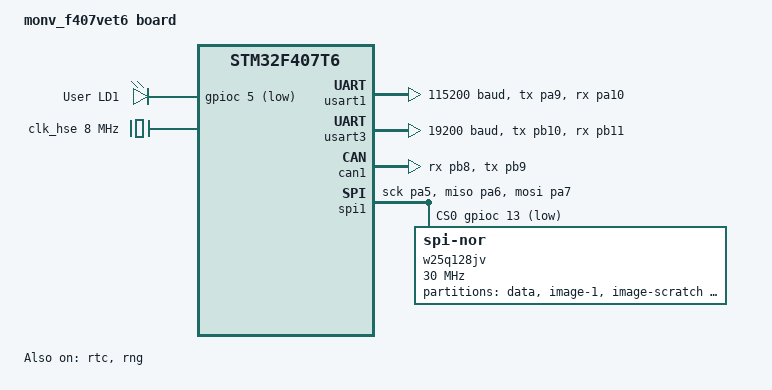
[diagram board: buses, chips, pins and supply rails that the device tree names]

/dts-v1/;
#include <st/f4/stm32f407Xe.dtsi>
#include <st/f4/stm32f407v(e-g)tx-pinctrl.dtsi>
#include <zephyr/dt-bindings/input/input-event-codes.h>

/ {
	model = "monv_f407vet6 board";
	compatible = "monv-stm32f407t6";

	chosen {
		zephyr,console = &usart1;
		zephyr,shell-uart = &usart1;
		zephyr,sram = &sram0;
		zephyr,flash = &flash0;
		zephyr,ccm = &ccm0;
		zephyr,canbus = &can1;
		zephyr,settings-partition = &cfg_partition;
		zephyr,code-partition = &slot0_partition;
		zephyr,rtc = &rtc;
	};
	leds {
		compatible = "gpio-leds";
		heart_status: led_1 {
			gpios = <&gpioc 5 GPIO_ACTIVE_LOW>;
			label = "User LD1";
		};
	};

	aliases {
		led0 = &heart_status;
		rtc = &rtc;
		mcuboot-led0 = &heart_status;
	};
};

&clk_lsi {
	status = "okay";
};

&clk_hse {
	clock-frequency = <DT_FREQ_M(8)>;
	status = "okay";
};

&pll {
	div-m = <8>;
	mul-n = <336>;
	div-p = <2>;
	div-q = <7>;
	clocks = <&clk_hse>;
	status = "okay";
};

&rcc {
	clocks = <&pll>;
	clock-frequency = <DT_FREQ_M(168)>;
	ahb-prescaler = <1>;
	apb1-prescaler = <4>;
	apb2-prescaler = <2>;
};

&usart1 {
	pinctrl-0 = <&usart1_tx_pa9 &usart1_rx_pa10>;
	pinctrl-names = "default";
	current-speed = <115200>;
	status = "okay";
};

&usart3 {
	pinctrl-0 = <&usart3_tx_pb10 &usart3_rx_pb11>;
	pinctrl-names = "default";
	current-speed = <19200>;
	status = "okay";
};

&rtc {
	clocks = <&rcc STM32_CLOCK_BUS_APB1 0x10000000>,
		 <&rcc STM32_SRC_LSI RTC_SEL(2)>;
	status = "okay";
};

&can1 {
	pinctrl-0 = <&can1_rx_pb8 &can1_tx_pb9>;
	pinctrl-names = "default";
	status = "okay";
};

&flash0 {
	partitions {
		compatible = "fixed-partitions";
		#address-cells = <1>;
		#size-cells = <1>;

		boot_partition: partition@0 {
			label = "mcuboot";
			reg = <0x00000000 DT_SIZE_K(64)>;
			read-only;
		};

		slot0_partition: partition@10000 {
			label = "image-0";
			reg = <0x00010000 DT_SIZE_K(448)>;
		};
	};
};

&spi1 {
	pinctrl-0 = <&spi1_sck_pa5 &spi1_miso_pa6 &spi1_mosi_pa7>;
	pinctrl-names = "default";
	status = "okay";
	cs-gpios = <&gpioc 13 GPIO_ACTIVE_LOW>;
	w25q128jv: w25q128jv@0 {
		compatible = "jedec,spi-nor";
		reg = <0x0000000 DT_SIZE_M(16)>;
		spi-max-frequency = <30000000>;
		size = <0x8000000>;
		jedec-id = [ef 40 18];
		partitions {
			compatible = "fixed-partitions";
			#address-cells = <1>;
			#size-cells = <1>;

			storage_partition: partition@0 {
				label = "data";
				reg = <0x00000000 DT_SIZE_M(13)>;
			};
			slot1_partition: partition@D00000 {
				label = "image-1";
				reg = <0x00D00000 DT_SIZE_K(448)>;
			};
			scratch_partition: partition@D70000 {
				label = "image-scratch";
				reg = <0x00D70000 DT_SIZE_K(256)>;
			};
			cfg_partition: partition@E00000 {
				label = "cfg";
				reg = <0x00E00000 DT_SIZE_M(2)>;
			};
		};
	};
};

&can1 {
	pinctrl-0 = <&can1_rx_pb8 &can1_tx_pb9>;
	pinctrl-names = "default";
	status = "okay";
};

&rng {
	status = "okay";
};

